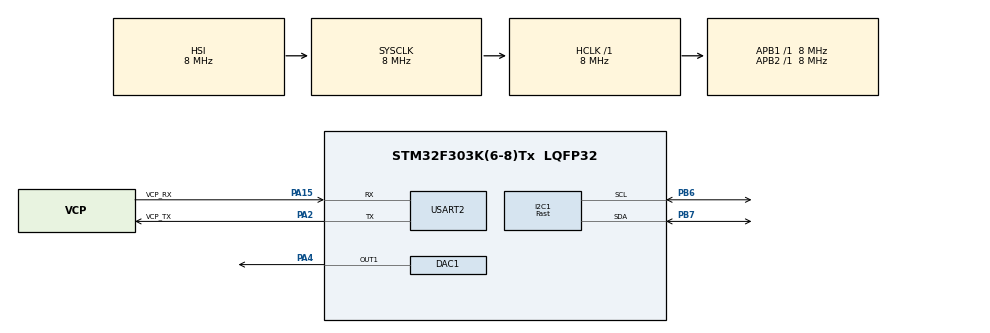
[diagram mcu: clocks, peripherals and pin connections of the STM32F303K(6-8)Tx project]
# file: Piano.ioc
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DAC1.DAC_Trigger=DAC_TRIGGER_T2_TRGO
Dma.DAC1_CH1.0.Direction=DMA_MEMORY_TO_PERIPH
Dma.DAC1_CH1.0.Instance=DMA1_Channel3
Dma.DAC1_CH1.0.MemDataAlignment=DMA_MDATAALIGN_BYTE
Dma.DAC1_CH1.0.MemInc=DMA_MINC_ENABLE
Dma.DAC1_CH1.0.Mode=DMA_CIRCULAR
Dma.DAC1_CH1.0.PeriphDataAlignment=DMA_PDATAALIGN_BYTE
Dma.DAC1_CH1.0.PeriphInc=DMA_PINC_DISABLE
Dma.DAC1_CH1.0.Priority=DMA_PRIORITY_LOW
Dma.Request0=DAC1_CH1
I2C1.I2C_Speed_Mode=I2C_Fast
I2C1.Timing=0x0000020B
Mcu.Family=STM32F3
Mcu.Name=STM32F303K(6-8)Tx
Mcu.Package=LQFP32
NVIC.DMA1_Channel3_IRQn=true\:0\:0\:false\:false\:true\:false\:true\:true
NVIC.PriorityGroup=NVIC_PRIORITYGROUP_4
PA13.GPIO_Label=SWDIO
PA13.Mode=Serial_Wire
PA13.Signal=SYS_JTMS-SWDIO
PA14.GPIO_Label=SWCLK
PA14.Mode=Serial_Wire
PA14.Signal=SYS_JTCK-SWCLK
PA15.GPIO_Label=VCP_RX
PA15.Mode=Asynchronous
PA15.Signal=USART2_RX
PA2.GPIO_Label=VCP_TX
PA2.Mode=Asynchronous
PA2.Signal=USART2_TX
PA4.Signal=COMP_DAC11_group
PB6.GPIO_Pu=GPIO_NOPULL
PB6.Mode=I2C
PB6.Signal=I2C1_SCL
PB7.GPIO_Pu=GPIO_NOPULL
PB7.Mode=I2C
PB7.Signal=I2C1_SDA
PF0\ /\ OSC_IN.GPIO_Label=MCO
PF0\ /\ OSC_IN.Mode=HSE-External-Clock-Source
PF0\ /\ OSC_IN.Signal=RCC_OSC_IN
ProjectManager.HeapSize=0x200
ProjectManager.StackSize=0x400
ProjectManager.TargetToolchain=STM32CubeIDE
RCC.AHBFreq_Value=8000000
RCC.APB1Freq_Value=8000000
RCC.APB1TimCLKDivider=1
RCC.APB1TimFreq_Value=8000000
RCC.APB2Freq_Value=8000000
RCC.APB2TimFreq_Value=8000000
RCC.CortexFreq_Value=8000000
RCC.HCLKFreq_Value=8000000
RCC.HSE_VALUE=8000000
RCC.HSI_VALUE=8000000
RCC.I2c1ClockSelection=RCC_I2C1CLKSOURCE_SYSCLK
RCC.SYSCLKFreq_VALUE=8000000
SH.COMP_DAC11_group.0=DAC1_OUT1,DAC_OUT1
TIM2.Period=79
TIM2.TIM_MasterOutputTrigger=TIM_TRGO_UPDATE
USART2.VirtualMode-Asynchronous=VM_ASYNC
USART2.WordLength=WORDLENGTH_7B
VP_TIM2_VS_ClockSourceINT.Mode=Internal
VP_TIM6_VS_ClockSourceINT.Mode=Enable_Timer
board=NUCLEO-F303K8

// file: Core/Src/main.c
/* USER CODE BEGIN Header */
/**
 ******************************************************************************
 * @file           : main.c
 * @brief          : Main program body
 ******************************************************************************
 * @attention
 *
 * Copyright (c) 2024 STMicroelectronics.
 * All rights reserved.
 *
 * This software is licensed under terms that can be found in the LICENSE file
 * in the root directory of this software component.
 * If no LICENSE file comes with this software, it is provided AS-IS.
 *
 ******************************************************************************
 */
/* USER CODE END Header */
#include "main.h"

/* USER CODE BEGIN Includes */
#include "Adafruit_MPR121_STM32.h"
#include "stm32_synth.h"
#include <stdio.h>
#include <string.h>
/* USER CODE END Includes */

DAC_HandleTypeDef hdac1;
DMA_HandleTypeDef hdma_dac1_ch1;

I2C_HandleTypeDef hi2c1;

TIM_HandleTypeDef htim2;
TIM_HandleTypeDef htim6;

UART_HandleTypeDef huart2;

void SystemClock_Config(void);
static void MX_GPIO_Init(void);
static void MX_DMA_Init(void);
static void MX_USART2_UART_Init(void);
static void MX_I2C1_Init(void);
static void MX_DAC1_Init(void);
static void MX_TIM2_Init(void);
static void MX_TIM6_Init(void);

int main(void)
{

  /* MCU Configuration--------------------------------------------------------*/

  /* Reset of all peripherals, Initializes the Flash interface and the Systick. */
  HAL_Init();

  /* Configure the system clock */
  SystemClock_Config();

  /* Initialize all configured peripherals */
  MX_GPIO_Init();
  MX_DMA_Init();
  MX_USART2_UART_Init();
  MX_I2C1_Init();
  MX_DAC1_Init();
  MX_TIM2_Init();
  MX_TIM6_Init();
  /* USER CODE BEGIN 2 */
#define MAX_MSG_LENGTH 300
#define TMP_LENGTH 25
	char msg[MAX_MSG_LENGTH] = { 0 };
	char tmp[TMP_LENGTH] = { 0 };
	const uint16_t CHAR_SIZE = sizeof(msg[0]);
	const uint16_t MSG_SIZE = sizeof(msg);
	const uint16_t TMP_SIZE = sizeof(tmp);

	// initialize sensor
	uint8_t i2caddr = MPR121_I2CADDR_DEFAULT;
	// touch and release threshold 0-255
	uint8_t touchThreshold = MPR121_TOUCH_THRESHOLD_DEFAULT;
	uint8_t releaseThreshold = MPR121_RELEASE_THRESHOLD_DEFAULT;

	Adafruit_MPR121 mpr121;
	Adafruit_MPR121_Init(&mpr121, i2caddr, &hi2c1);
	Adafruit_MPR121_Begin(&mpr121, i2caddr, touchThreshold, releaseThreshold);

	// dac
	HAL_DAC_Start_DMA(&hdac1, DAC_CHANNEL_1, (uint32_t*) sine, SIZE_OF_SAMPLE, DAC_ALIGN_8B_R);

	int i = 0;
	while(1){
		play(&htim2, noteMap[i++]);
		if(i > 11){
			i = 0;
		}
		HAL_Delay(500);
		stop(&htim2);
		HAL_Delay(1000);
	}

	/*
	while(1){
		__HAL_TIM_SET_AUTORELOAD(&htim2, arr);
		HAL_TIM_GenerateEvent(&htim2, TIM_EVENTSOURCE_UPDATE);
		arr += 5;
		if(arr > 250){ arr = 50;}
		HAL_Delay(10);
	}
	*/

	//
  /* USER CODE END 2 */

  /* Infinite loop */
  /* USER CODE BEGIN WHILE */
	uint16_t msgIndex = 0;
	while (1) {
    /* USER CODE END WHILE */

    /* USER CODE BEGIN 3 */

		// Iterate over each input
		uint16_t touchStatus = Adafruit_MPR121_Touched(&mpr121);
		msgIndex = 0;
		memset(msg, 0, MSG_SIZE);
		//if (Adafruit_MPR121_Touched(&mpr121) != touchStatus) {
		for (uint8_t i = 0; i < 12; i++) {
			if (touchStatus & (1 << i)) {
				snprintf(tmp, TMP_SIZE, "Channel %d is touched.\r\n", i);
				memcpy(&msg[msgIndex], tmp, TMP_SIZE);
				msgIndex += TMP_LENGTH;
				memset(tmp, 0, TMP_SIZE);
			}
		}
		if (msgIndex != 0) {
			//HAL_UART_Transmit(&huart2, (uint8_t*) "\r\n", 1, HAL_MAX_DELAY);
			msg[msgIndex++] = '\r';
			msg[msgIndex] = '\n';
			HAL_UART_Transmit(&huart2, (uint8_t*) msg, CHAR_SIZE * msgIndex,
			HAL_MAX_DELAY);
		}
		//}
		/*
		 HAL_DAC_SetValue(&hdac1, DAC_CHANNEL_1, DAC_ALIGN_12B_R, sine[index++]);
		 if (index == SIZE_OF_SAMPLE) {
		 index = 0;
		 }
		 */
		//HAL_Delay(1);
	}
  /* USER CODE END 3 */
}

void SystemClock_Config(void)
{
  RCC_OscInitTypeDef RCC_OscInitStruct = {0};
  RCC_ClkInitTypeDef RCC_ClkInitStruct = {0};
  RCC_PeriphCLKInitTypeDef PeriphClkInit = {0};

  /** Initializes the RCC Oscillators according to the specified parameters
  * in the RCC_OscInitTypeDef structure.
  */
  RCC_OscInitStruct.OscillatorType = RCC_OSCILLATORTYPE_HSI;
  RCC_OscInitStruct.HSIState = RCC_HSI_ON;
  RCC_OscInitStruct.HSICalibrationValue = RCC_HSICALIBRATION_DEFAULT;
  RCC_OscInitStruct.PLL.PLLState = RCC_PLL_NONE;
  if (HAL_RCC_OscConfig(&RCC_OscInitStruct) != HAL_OK)
  {
    Error_Handler();
  }

  /** Initializes the CPU, AHB and APB buses clocks
  */
  RCC_ClkInitStruct.ClockType = RCC_CLOCKTYPE_HCLK|RCC_CLOCKTYPE_SYSCLK
                              |RCC_CLOCKTYPE_PCLK1|RCC_CLOCKTYPE_PCLK2;
  RCC_ClkInitStruct.SYSCLKSource = RCC_SYSCLKSOURCE_HSI;
  RCC_ClkInitStruct.AHBCLKDivider = RCC_SYSCLK_DIV1;
  RCC_ClkInitStruct.APB1CLKDivider = RCC_HCLK_DIV1;
  RCC_ClkInitStruct.APB2CLKDivider = RCC_HCLK_DIV1;

  if (HAL_RCC_ClockConfig(&RCC_ClkInitStruct, FLASH_LATENCY_0) != HAL_OK)
  {
    Error_Handler();
  }
  PeriphClkInit.PeriphClockSelection = RCC_PERIPHCLK_I2C1;
  PeriphClkInit.I2c1ClockSelection = RCC_I2C1CLKSOURCE_SYSCLK;
  if (HAL_RCCEx_PeriphCLKConfig(&PeriphClkInit) != HAL_OK)
  {
    Error_Handler();
  }
}

static void MX_DAC1_Init(void)
{

  DAC_ChannelConfTypeDef sConfig = {0};

  /** DAC Initialization
  */
  hdac1.Instance = DAC1;
  if (HAL_DAC_Init(&hdac1) != HAL_OK)
  {
    Error_Handler();
  }

  /** DAC channel OUT1 config
  */
  sConfig.DAC_Trigger = DAC_TRIGGER_T2_TRGO;
  sConfig.DAC_OutputBuffer = DAC_OUTPUTBUFFER_ENABLE;
  if (HAL_DAC_ConfigChannel(&hdac1, &sConfig, DAC_CHANNEL_1) != HAL_OK)
  {
    Error_Handler();
  }

}

static void MX_I2C1_Init(void)
{

  hi2c1.Instance = I2C1;
  hi2c1.Init.Timing = 0x0000020B;
  hi2c1.Init.OwnAddress1 = 0;
  hi2c1.Init.AddressingMode = I2C_ADDRESSINGMODE_7BIT;
  hi2c1.Init.DualAddressMode = I2C_DUALADDRESS_DISABLE;
  hi2c1.Init.OwnAddress2 = 0;
  hi2c1.Init.OwnAddress2Masks = I2C_OA2_NOMASK;
  hi2c1.Init.GeneralCallMode = I2C_GENERALCALL_DISABLE;
  hi2c1.Init.NoStretchMode = I2C_NOSTRETCH_DISABLE;
  if (HAL_I2C_Init(&hi2c1) != HAL_OK)
  {
    Error_Handler();
  }

  /** Configure Analogue filter
  */
  if (HAL_I2CEx_ConfigAnalogFilter(&hi2c1, I2C_ANALOGFILTER_ENABLE) != HAL_OK)
  {
    Error_Handler();
  }

  /** Configure Digital filter
  */
  if (HAL_I2CEx_ConfigDigitalFilter(&hi2c1, 0) != HAL_OK)
  {
    Error_Handler();
  }

}

static void MX_TIM2_Init(void)
{

  TIM_ClockConfigTypeDef sClockSourceConfig = {0};
  TIM_MasterConfigTypeDef sMasterConfig = {0};

  htim2.Instance = TIM2;
  htim2.Init.Prescaler = 0;
  htim2.Init.CounterMode = TIM_COUNTERMODE_UP;
  htim2.Init.Period = 79;
  htim2.Init.ClockDivision = TIM_CLOCKDIVISION_DIV1;
  htim2.Init.AutoReloadPreload = TIM_AUTORELOAD_PRELOAD_DISABLE;
  if (HAL_TIM_Base_Init(&htim2) != HAL_OK)
  {
    Error_Handler();
  }
  sClockSourceConfig.ClockSource = TIM_CLOCKSOURCE_INTERNAL;
  if (HAL_TIM_ConfigClockSource(&htim2, &sClockSourceConfig) != HAL_OK)
  {
    Error_Handler();
  }
  sMasterConfig.MasterOutputTrigger = TIM_TRGO_UPDATE;
  sMasterConfig.MasterSlaveMode = TIM_MASTERSLAVEMODE_DISABLE;
  if (HAL_TIMEx_MasterConfigSynchronization(&htim2, &sMasterConfig) != HAL_OK)
  {
    Error_Handler();
  }

}

static void MX_TIM6_Init(void)
{

  TIM_MasterConfigTypeDef sMasterConfig = {0};

  htim6.Instance = TIM6;
  htim6.Init.Prescaler = 0;
  htim6.Init.CounterMode = TIM_COUNTERMODE_UP;
  htim6.Init.Period = 65535;
  htim6.Init.AutoReloadPreload = TIM_AUTORELOAD_PRELOAD_DISABLE;
  if (HAL_TIM_Base_Init(&htim6) != HAL_OK)
  {
    Error_Handler();
  }
  sMasterConfig.MasterOutputTrigger = TIM_TRGO_RESET;
  sMasterConfig.MasterSlaveMode = TIM_MASTERSLAVEMODE_DISABLE;
  if (HAL_TIMEx_MasterConfigSynchronization(&htim6, &sMasterConfig) != HAL_OK)
  {
    Error_Handler();
  }

}

static void MX_USART2_UART_Init(void)
{

  huart2.Instance = USART2;
  huart2.Init.BaudRate = 38400;
  huart2.Init.StopBits = UART_STOPBITS_1;
  huart2.Init.Parity = UART_PARITY_NONE;
  huart2.Init.Mode = UART_MODE_TX_RX;
  huart2.Init.HwFlowCtl = UART_HWCONTROL_NONE;
  huart2.Init.OverSampling = UART_OVERSAMPLING_16;
  huart2.Init.OneBitSampling = UART_ONE_BIT_SAMPLE_DISABLE;
  huart2.AdvancedInit.AdvFeatureInit = UART_ADVFEATURE_NO_INIT;
  if (HAL_UART_Init(&huart2) != HAL_OK)
  {
    Error_Handler();
  }

}

static void MX_DMA_Init(void)
{

  /* DMA controller clock enable */
  __HAL_RCC_DMA1_CLK_ENABLE();

  /* DMA interrupt init */
  /* DMA1_Channel3_IRQn interrupt configuration */
  HAL_NVIC_SetPriority(DMA1_Channel3_IRQn, 0, 0);
  HAL_NVIC_EnableIRQ(DMA1_Channel3_IRQn);

}

static void MX_GPIO_Init(void)
{

  /* GPIO Ports Clock Enable */
  __HAL_RCC_GPIOF_CLK_ENABLE();
  __HAL_RCC_GPIOA_CLK_ENABLE();
  __HAL_RCC_GPIOB_CLK_ENABLE();

}

void Error_Handler(void)
{
	__disable_irq();
	while (1) {
	}
}
